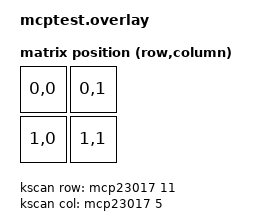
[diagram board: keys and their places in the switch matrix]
#include <dt-bindings/i2c/i2c.h>
#include <dt-bindings/zmk/matrix_transform.h>

#include "mcptest-layouts.dtsi"

&pinctrl {
    i2c1_default: i2c1_default {
        group1 {
            psels = <NRF_PSEL(TWIM_SDA, 0, 20)>,
                <NRF_PSEL(TWIM_SCL, 0, 22)>;
        };
    };

    i2c1_sleep: i2c1_sleep {
        group1 {
            psels = <NRF_PSEL(TWIM_SDA, 0, 20)>,
                <NRF_PSEL(TWIM_SCL, 0, 22)>;
            low-power-enable;
        };
    };
};

&i2c1 {
    compatible = "nordic,nrf-twi";
    pinctrl-0 = <&i2c1_default>;
    pinctrl-1 = <&i2c1_sleep>;
    pinctrl-names = "default", "sleep";
    status = "okay";
    clock-frequency = <I2C_BITRATE_STANDARD>;

    mcp23017: mcp23017@20 {
        compatible = "microchip,mcp230xx";
        status = "okay";
        reg = <0x20>;
        gpio-controller;
        #gpio-cells = <2>;
        ngpios = <16>;
    };
};

/ {
    chosen {
        zmk,physical-layout = &default_layout;
    };

    kscan: kscan {
        compatible = "zmk,kscan-gpio-matrix";
        diode-direction = "col2row";
        row-gpios = <&mcp23017 11 (GPIO_ACTIVE_HIGH | GPIO_PULL_DOWN)>;
        col-gpios = <&mcp23017 5  GPIO_ACTIVE_HIGH>;
    };

    default_transform: default_transform {
        compatible = "zmk,matrix-transform";
        columns = <2>;
        rows = <2>;

        map = <
            RC(0, 0) RC(0, 1)
            RC(1, 0) RC(1, 1)
        >;
    };
};
